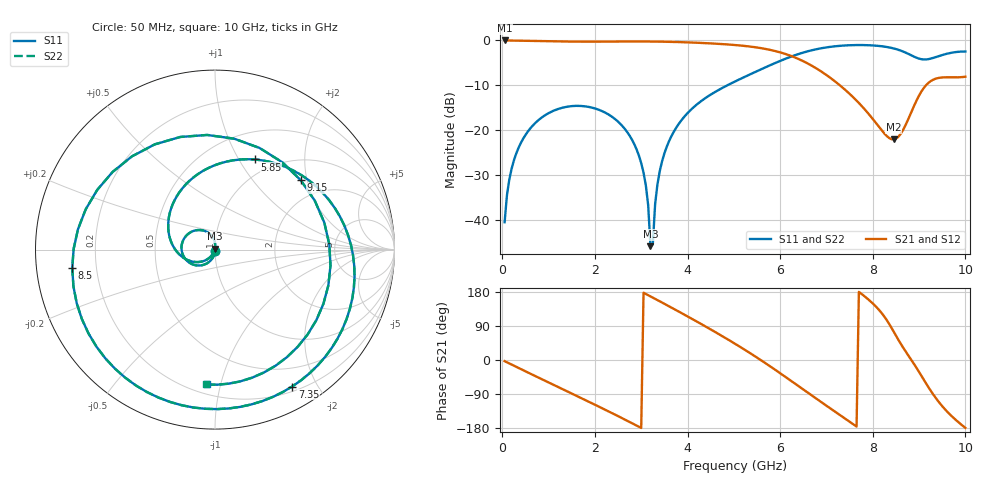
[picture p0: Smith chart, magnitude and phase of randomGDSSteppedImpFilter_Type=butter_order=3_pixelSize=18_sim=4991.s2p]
! freq	dB(S11)	phase(S11)	dB(S12)	phase(S12)
!  dB(S21)	phase(S21)	dB(S22)	phase(S22)
!S-par simulation data
#  GHz  S  DB  R 50
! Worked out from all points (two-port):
!   200 points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, 50 MHz to 10 GHz, reference 50 ohm
!   highest |S21| = -0.01 dB at 50 MHz (marker M1); lowest = -22.0 dB at 8.45 GHz (marker M2)
!   |S21| within 3 dB of the highest: start of sweep to 6.111 GHz
!   lowest |S11| = -45.8 dB at 3.2 GHz (marker M3), VSWR 1.01, Z = 49.9 + j0.51 ohm
!   |S11| at or under -10 dB: start of sweep to 4.856 GHz
!   |S22| runs from -45.5 to -1.0 dB; largest |S21 - S12| = 0
!   S11 on the Smith chart (normalised r, x): 50 MHz: 1.00, -0.02; 5.85 GHz: 0.81, +1.17; 7.35 GHz: 0.26, -1.68; 8.5 GHz: 0.11, -0.06; 9.15 GHz: 1.47, +1.83; 10 GHz: 0.26, -0.90
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0.05  -40.45 -92.9  -0.01 -3.0  -0.01 -3.0  -40.45 -92.9
0.2  -28.59 -102.0  -0.02 -12.0  -0.02 -12.0  -28.59 -102.0
0.5  -21.04 -120.3  -0.07 -29.8  -0.07 -29.8  -21.04 -120.3
1.75  -14.62 166.1  -0.27 -103.2  -0.27 -103.2  -14.62 166.2
2.85  -23.08 100.5  -0.23 -169.9  -0.23 -169.9  -23.08 100.8
3.1  -32.28 87.2  -0.24 174.3  -0.24 174.3  -32.27 88.3
3.2  -45.78 96.7  -0.24 167.9  -0.24 167.9  -45.49 101.7
3.25  -45.38 -130.8  -0.25 164.6  -0.25 164.6  -45.06 -135.1
3.4  -29.10 -118.7  -0.27 154.9  -0.27 154.9  -29.09 -119.4
4.25  -13.85 -173.3  -0.53 98.1  -0.53 98.1  -13.84 -173.3
5.05  -9.01 129.7  -1.04 41.0  -1.04 41.0  -9.01 129.7
5.85  -5.21 66.2  -2.25 -22.2  -2.25 -22.2  -5.21 66.3
6.7  -2.14 -6.7  -5.72 -95.2  -5.72 -95.2  -2.15 -6.7
7.35  -1.15 -60.6  -10.51 -150.0  -10.51 -150.0  -1.15 -60.6
7.9  -1.06 -106.3  -16.22 160.2  -16.22 160.2  -1.06 -106.4
8.35  -1.55 -152.4  -21.68 96.1  -21.68 96.1  -1.55 -152.5
8.45  -1.78 -165.4  -22.03 75.3  -22.03 75.3  -1.78 -165.6
8.5  -1.92 -172.5  -21.87 64.5  -21.87 64.5  -1.92 -172.7
8.9  -3.65 107.3  -14.37 -12.3  -14.37 -12.3  -3.65 107.0
9.15  -4.23 39.0  -9.97 -61.7  -9.97 -61.7  -4.23 38.8
9.6  -2.96 -49.5  -8.20 -135.5  -8.20 -135.5  -2.96 -49.7
10  -2.46 -93.6  -8.07 -179.3  -8.07 -179.3  -2.46 -93.8
